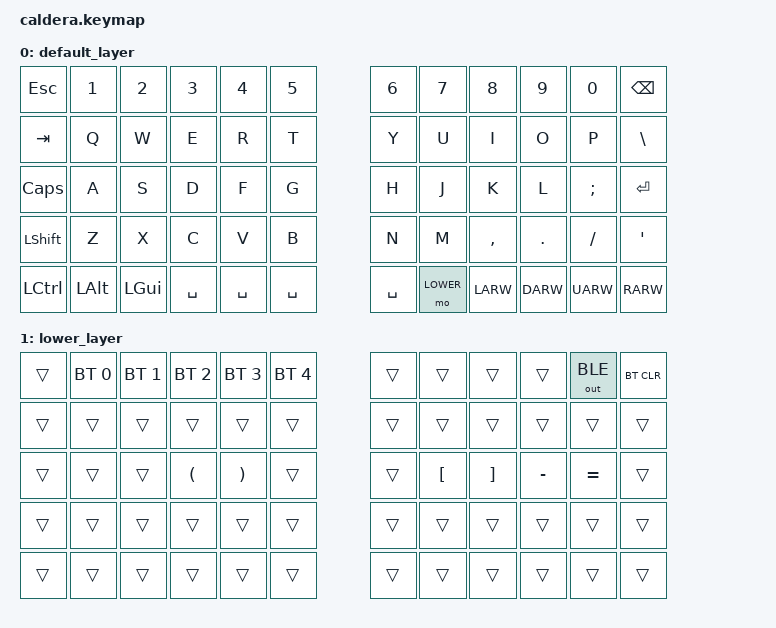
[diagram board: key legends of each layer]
/*
 * Copyright (c) 2020 The ZMK Contributors
 *
 * SPDX-License-Identifier: MIT
 */

#include <behaviors.dtsi>
#include <dt-bindings/zmk/keys.h>
#include <dt-bindings/zmk/bt.h>
#include <dt-bindings/zmk/outputs.h>

#define DEFAULT 0
#define LOWER 1

/ {
        keymap {
                compatible = "zmk,keymap";

                default_layer {
// ---------------------------------------------------------------------------------
// | ESC  |  1  |  2  |  3  |  4  |  5  |     |  6  |  7  |  8  |  9  |  0  | BSPC |
// | TAB  |  Q  |  W  |  E  |  R  |  T  |     |  Y  |  U  |  I  |  O  |  P  |  \   |
// | CAPS |  A  |  S  |  D  |  F  |  G  |     |  H  |  J  |  K  |  L  |  ;  | ENT  |
// | SHFT |  Z  |  X  |  C  |  V  |  B  |     |  N  |  M  |  ,  |  .  |  /  | APOS |
// | CTRL | ALT | GUI | SPC | SPC | SPC |     | SPC | LOW |LARW |DARW |UARW | RARW |
                        bindings = <
   &kp ESC  &kp N1    &kp N2    &kp N3     &kp N4     &kp N5               &kp N6     &kp N7  &kp N8     &kp N9    &kp N0    &kp BSPC
   &kp TAB    &kp Q     &kp W     &kp E      &kp R      &kp T                &kp Y      &kp U   &kp I      &kp O     &kp P     &kp BSLH
   &kp CAPS   &kp A     &kp S     &kp D      &kp F      &kp G                &kp H      &kp J   &kp K      &kp L     &kp SEMI  &kp RET
   &kp LSHFT  &kp Z     &kp X     &kp C      &kp V      &kp B                &kp N      &kp M   &kp COMMA  &kp DOT   &kp FSLH  &kp APOS
   &kp LCTRL  &kp LALT  &kp LGUI  &kp SPACE  &kp SPACE   &kp SPACE             &kp SPACE  &mo LOWER   &kp LARW   &kp DARW  &kp UARW  &kp RARW
                        >;
                };
                lower_layer {
// ------------------------------------------------------------------------------------------------------------
// |       |  BT1  |  BT2  |  BT3  |  BT4  |  BT5  |          |       |       |       |       | OUTBL | BTCLR |
// |       |       |       |       |       |       |          |       |       |       |       |       |       |
// |       |       |       |   (   |   )   |       |          |       |   [   |   ]   |   -   |   =   |       |
// |       |       |       |       |       |       |          |       |       |       |       |       |       |
                        bindings = <
   &trans    &bt BT_SEL 0   &bt BT_SEL 1   &bt BT_SEL 2   &bt BT_SEL 3   &bt BT_SEL 4           &trans    &trans    &trans   &trans   &out OUT_BLE  &bt BT_CLR
   &trans    &trans         &trans         &trans         &trans         &trans                 &trans    &trans    &trans   &trans   &trans  &trans
   &trans    &trans         &trans         &kp LPAR       &kp RPAR       &trans                 &trans    &kp LBKT  &kp RBKT &kp MINUS   &kp EQUAL  &trans
   &trans    &trans         &trans         &trans         &trans         &trans                 &trans    &trans    &trans   &trans   &trans  &trans
   &trans    &trans         &trans         &trans         &trans         &trans                 &trans    &trans    &trans   &trans   &trans  &trans
                        >;
                };
        };
};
